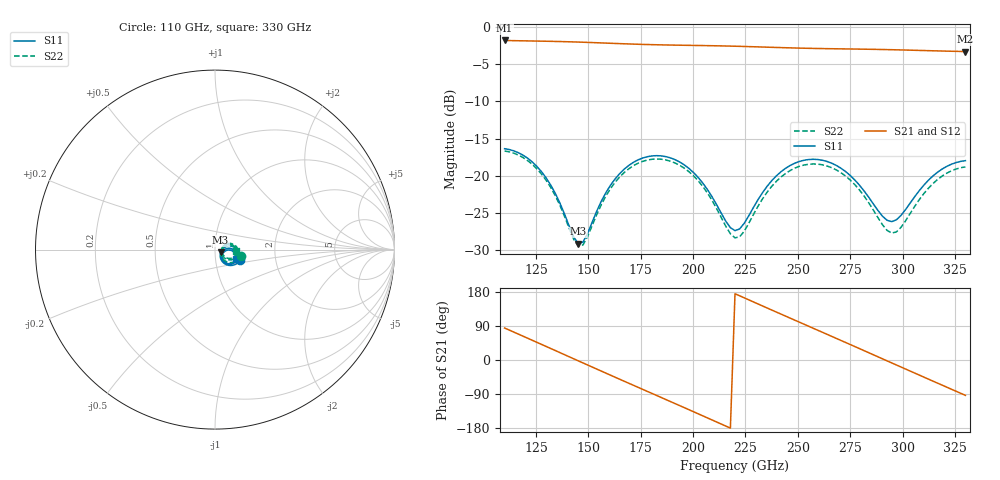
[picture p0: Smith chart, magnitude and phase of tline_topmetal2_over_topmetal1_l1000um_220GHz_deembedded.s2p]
! Created with skrf 2.0.1 (http://scikit-rf.org).
# GHz S DB R 50.0
!freq dBS11 angS11 dBS21 angS21 dBS12 angS12 dBS22 angS22
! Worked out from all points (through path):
!   101 points, 110 GHz to 330 GHz, reference 50 ohm
!   highest |S21| = -1.81 dB at 110 GHz (marker M1); lowest = -3.3 dB at 330 GHz (marker M2)
!   group delay of S21, straight-line fit = 6.79 ps
!   lowest |S11| = -29.1 dB at 145.2 GHz (marker M3), VSWR 1.07, Z = 53.2 - j1.68 ohm
!   |S11| at or under -10 dB: start of sweep to end of sweep
!   |S22| runs from -29.5 to -16.7 dB; largest |S21 - S12| = 8.6e-14
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110  -16.37 -21.5  -1.81 84.4  -1.81 84.4  -16.67 -13.8
118.8  -17.23 -38.1  -1.86 62.9  -1.86 62.9  -17.55 -29.8
129.8  -20.28 -55.3  -1.91 35.8  -1.91 35.8  -20.60 -46.2
145.2  -29.13 -26.7  -2.02 -2.3  -2.02 -2.3  -29.47 -17.3
147.4  -28.92 -10.4  -2.05 -7.7  -2.05 -7.7  -29.31 -0.8
158.4  -22.25 14.9  -2.16 -34.8  -2.16 -34.8  -22.71 25.9
167.2  -19.09 5.2  -2.26 -56.3  -2.26 -56.3  -19.54 16.9
176  -17.61 -9.2  -2.34 -77.7  -2.34 -77.7  -18.06 3.1
184.8  -17.33 -24.7  -2.40 -99.0  -2.40 -99.0  -17.78 -11.8
193.6  -18.15 -39.4  -2.44 -120.4  -2.44 -120.4  -18.60 -26.2
204.6  -20.98 -53.2  -2.49 -147.3  -2.49 -147.3  -21.43 -39.9
220  -27.38 -25.9  -2.58 174.9  -2.58 174.9  -28.35 -12.7
228.8  -24.27 3.9  -2.65 153.3  -2.65 153.3  -25.21 20.7
239.8  -20.00 0.9  -2.75 126.4  -2.75 126.4  -20.73 18.7
257.4  -17.79 -24.9  -2.88 83.7  -2.88 83.7  -18.41 -6.7
266.2  -18.32 -38.5  -2.92 62.3  -2.92 62.3  -18.92 -20.3
277.2  -20.57 -51.4  -2.96 35.5  -2.96 35.5  -21.19 -33.9
286  -23.76 -51.0  -3.00 14.0  -3.00 14.0  -24.59 -34.9
294.8  -26.17 -27.0  -3.05 -7.6  -3.05 -7.6  -27.71 -9.6
303.6  -23.68 -3.8  -3.11 -29.1  -3.11 -29.1  -25.09 18.7
314.6  -20.01 -5.4  -3.20 -55.9  -3.20 -55.9  -21.03 17.8
330  -17.97 -25.1  -3.30 -93.3  -3.30 -93.3  -18.81 -2.8
